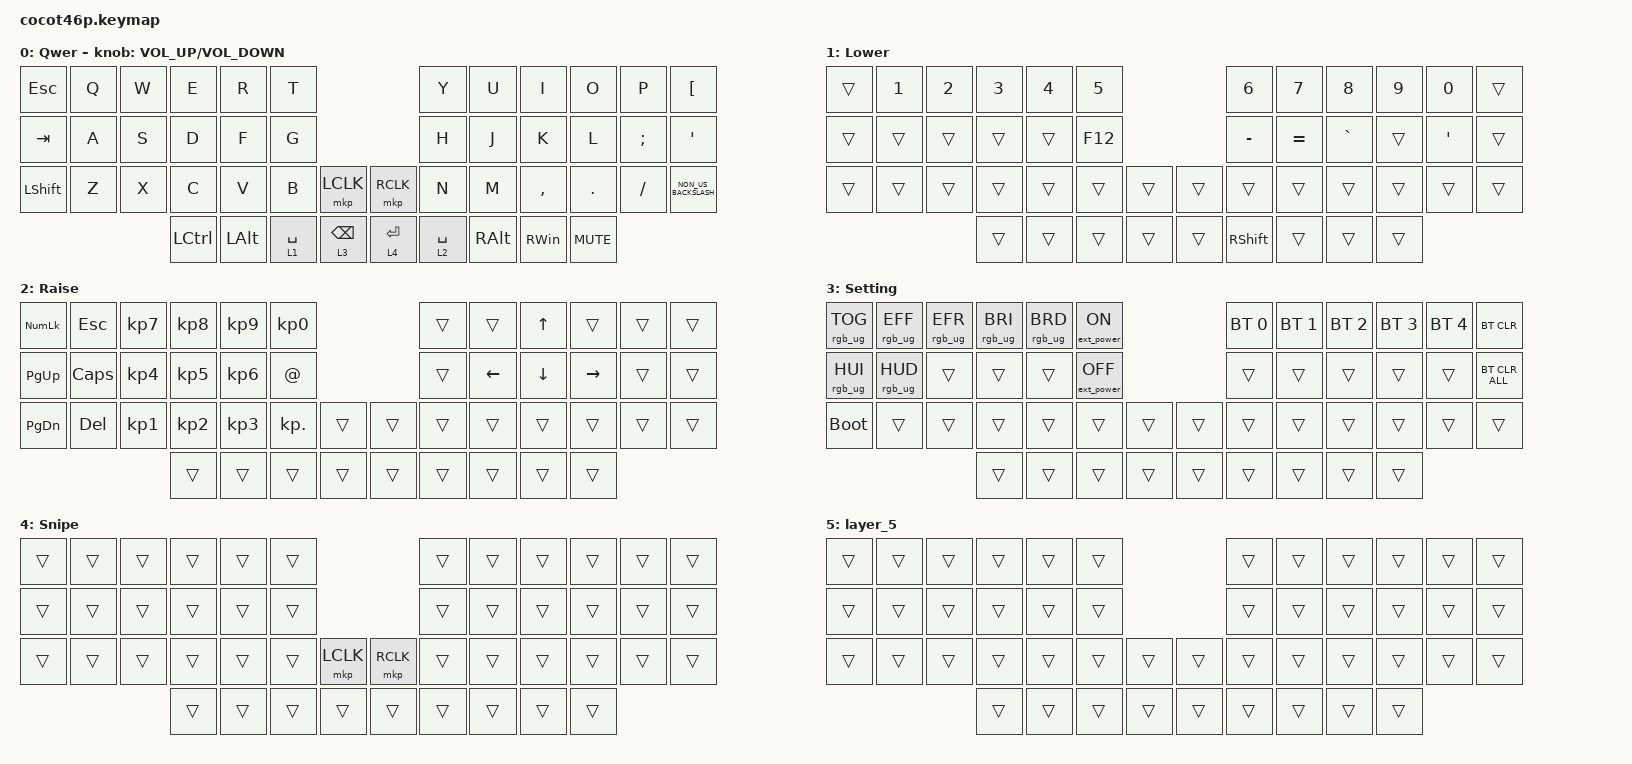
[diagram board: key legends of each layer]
/*
 * Copyright (c) 2021 The ZMK Contributors
 *
 * SPDX-License-Identifier: MIT
 */

#include <behaviors/mouse_keys.dtsi>
#include <dt-bindings/zmk/mouse.h>
#include <behaviors.dtsi>
#include <dt-bindings/zmk/bt.h>
#include <dt-bindings/zmk/ext_power.h>
#include <dt-bindings/zmk/keys.h>
#include <dt-bindings/zmk/pointing.h>
#include <dt-bindings/zmk/rgb.h>

/ {
    combos { compatible = "zmk,combos"; };

    behaviors {
        hm: homerow_mods {
            compatible = "zmk,behavior-hold-tap";
            label = "HOMEROW_MODS";
            bindings = <&kp>, <&kp>;

            #binding-cells = <2>;
            tapping-term-ms = <200>;
            quick-tap-ms = <180>;
            flavor = "tap-preferred";
        };

        ltq: ltq {
            compatible = "zmk,behavior-hold-tap";
            label = "LTQ";
            bindings = <&mo>, <&kp>;

            #binding-cells = <2>;
            tapping-term-ms = <200>;
            quick-tap-ms = <180>;
        };

        as: auto_shift {
            compatible = "zmk,behavior-hold-tap";
            label = "AUTO_SHIFT";
            bindings = <&kp>, <&kp>;

            #binding-cells = <2>;
            tapping-term-ms = <135>;
            quick-tap-ms = <0>;
        };
    };

    keymap {
        compatible = "zmk,keymap";

        Qwer {
            bindings = <
&kp ESCAPE      &kp Q  &kp W  &kp E      &kp R         &kp T                                      &kp Y        &kp U     &kp I          &kp O       &kp P          &kp LEFT_BRACKET
&kp TAB         &kp A  &kp S  &kp D      &kp F         &kp G                                      &kp H        &kp J     &kp K          &kp L       &kp SEMICOLON  &kp SQT
&kp LEFT_SHIFT  &kp Z  &kp X  &kp C      &kp V         &kp B        &mkp LCLK        &mkp RCLK    &kp N        &kp M     &kp COMMA      &kp PERIOD  &kp SLASH      &kp NON_US_BACKSLASH
                              &kp LCTRL  &kp LEFT_ALT  &lt 1 SPACE  &lt 3 BACKSPACE  &lt 4 ENTER  &lt 2 SPACE  &kp RALT  &kp RIGHT_WIN  &kp C_MUTE
            >;

            sensor-bindings = <&inc_dec_kp C_VOLUME_UP C_VOLUME_DOWN>;
            label = "Qwer";
        };

        Lower {
            bindings = <
&trans  &kp NUMBER_1  &kp NUMBER_2  &kp NUMBER_3  &kp NUMBER_4  &kp N5                   &kp NUMBER_6  &kp N7     &kp N8     &kp N9  &kp N0   &trans
&trans  &trans        &trans        &trans        &trans        &kp F12                  &kp MINUS     &kp EQUAL  &kp GRAVE  &trans  &kp SQT  &trans
&trans  &trans        &trans        &trans        &trans        &trans   &trans  &trans  &trans        &trans     &trans     &trans  &trans   &trans
                                    &trans        &trans        &trans   &trans  &trans  &kp RSHFT     &trans     &trans     &trans
            >;

            label = "Lower";
        };

        Raise {
            bindings = <
&kp KP_NUM     &kp ESC   &kp KP_NUMBER_7  &kp KP_NUMBER_8  &kp KP_NUMBER_9  &kp KP_NUMBER_0                  &trans  &trans    &kp UP_ARROW    &trans     &trans  &trans
&kp PAGE_UP    &kp CAPS  &kp KP_NUMBER_4  &kp KP_NUMBER_5  &kp KP_NUMBER_6  &kp AT_SIGN                      &trans  &kp LEFT  &kp DOWN_ARROW  &kp RIGHT  &trans  &trans
&kp PAGE_DOWN  &kp DEL   &kp KP_NUMBER_1  &kp KP_NUMBER_2  &kp KP_NUMBER_3  &kp KP_DOT       &trans  &trans  &trans  &trans    &trans          &trans     &trans  &trans
                                          &trans           &trans           &trans           &trans  &trans  &trans  &trans    &trans          &trans
            >;

            label = "Raise";
        };

        Setting {
            bindings = <
&rgb_ug RGB_TOG  &rgb_ug RGB_EFF  &rgb_ug RGB_EFR  &rgb_ug RGB_BRI  &rgb_ug RGB_BRD  &ext_power EP_ON                   &bt BT_SEL 0  &bt BT_SEL 1  &bt BT_SEL 2  &bt BT_SEL 3  &bt BT_SEL 4  &bt BT_CLR
&rgb_ug RGB_HUI  &rgb_ug RGB_HUD  &trans           &trans           &trans           &ext_power EP_OFF                  &trans        &trans        &trans        &trans        &trans        &bt BT_CLR_ALL
&bootloader      &trans           &trans           &trans           &trans           &trans             &trans  &trans  &trans        &trans        &trans        &trans        &trans        &trans
                                                   &trans           &trans           &trans             &trans  &trans  &trans        &trans        &trans        &trans
            >;

            label = "Setting";
        };

        Snipe {
            bindings = <
&trans  &trans  &trans  &trans  &trans  &trans                        &trans  &trans  &trans  &trans  &trans  &trans
&trans  &trans  &trans  &trans  &trans  &trans                        &trans  &trans  &trans  &trans  &trans  &trans
&trans  &trans  &trans  &trans  &trans  &trans  &mkp LCLK  &mkp RCLK  &trans  &trans  &trans  &trans  &trans  &trans
                        &trans  &trans  &trans  &trans     &trans     &trans  &trans  &trans  &trans
            >;

            label = "Snipe";
        };

        layer_5 {
            bindings = <
&trans  &trans  &trans  &trans  &trans  &trans                  &trans  &trans  &trans  &trans  &trans  &trans
&trans  &trans  &trans  &trans  &trans  &trans                  &trans  &trans  &trans  &trans  &trans  &trans
&trans  &trans  &trans  &trans  &trans  &trans  &trans  &trans  &trans  &trans  &trans  &trans  &trans  &trans
                        &trans  &trans  &trans  &trans  &trans  &trans  &trans  &trans  &trans
            >;
        };
    };
};
